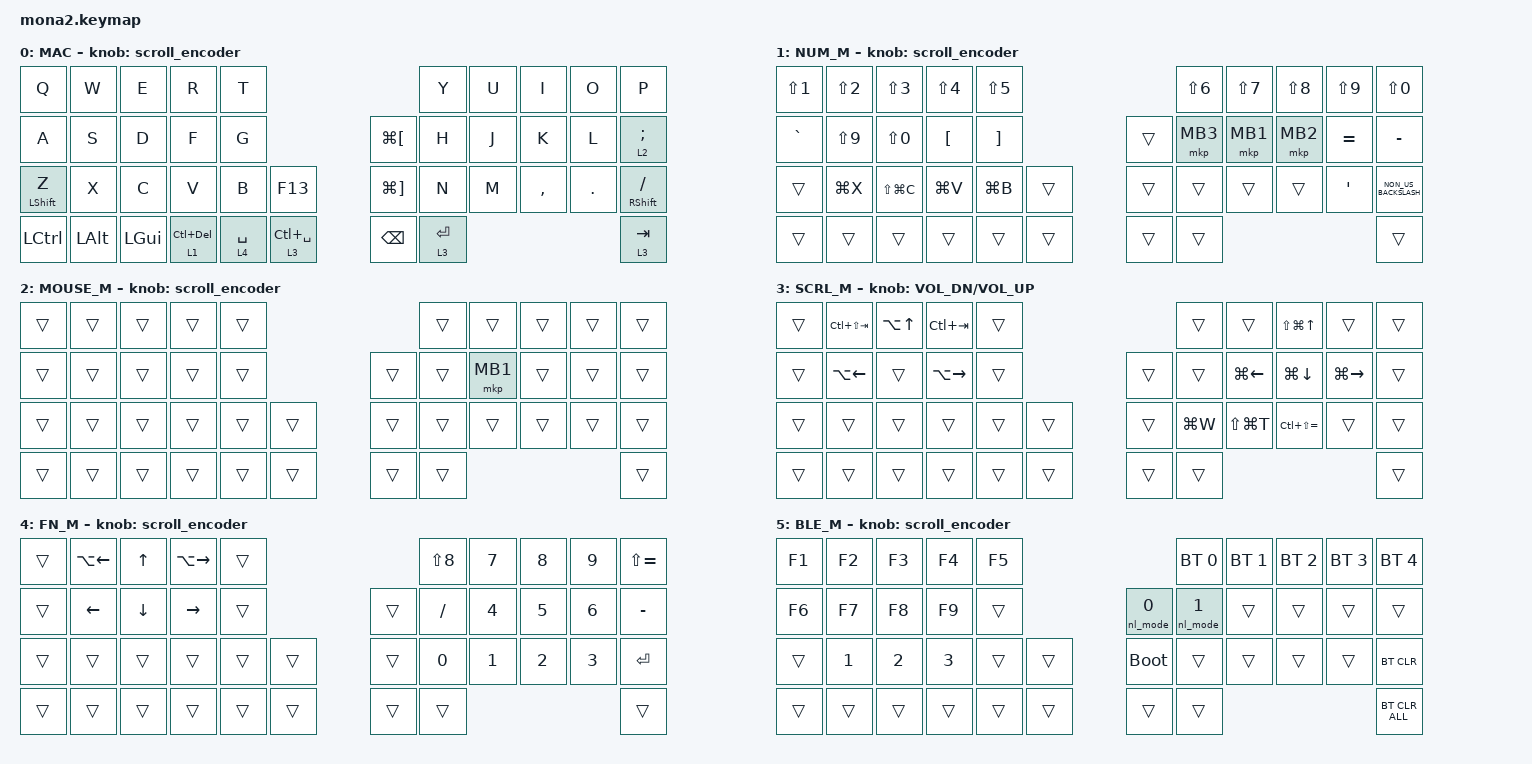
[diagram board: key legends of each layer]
#include <input/processors.dtsi>
#include <dt-bindings/zmk/input_transform.h>
#include <zephyr/dt-bindings/input/input-event-codes.h>
#include <behaviors.dtsi>
/* DYA Studio から作成したマクロを呼び出す `&rmacro <slot>` を定義する。
   slot は 0 〜 CONFIG_ZMK_RUNTIME_MACRO_COUNT-1 (現状 0〜7)。
   どのマクロがどのスロットに入っているかは DYA Studio のマクロ一覧で確認する。
   キーへの割り当ては DYA Studio のキーマップエディタからも行える。 */
#include <behaviors/runtime_macro.dtsi>
/* デフォルトレイヤー変更 behavior `&df`。
   DYA Studio の「OSごとのデフォルトレイヤー」から設定できるほか、
   キーマップエディタで `&df DF_SEL <layer>` / `&df DF_INC` を
   任意のキーに割り当てられる。 */
#include <behaviors/default_layer.dtsi>
#include <dt-bindings/zmk_behavior_default_layer/default_layer.h>
#include <dt-bindings/zmk/bt.h>
#include <dt-bindings/zmk/keys.h>
#include <dt-bindings/zmk/outputs.h>
#include <dt-bindings/zmk/pointing.h>
/* nemu-link: radio 切替 behavior `&nl_mode` (0=BLE, 1=独自2.4GHz, 2=toggle)。
   初期キーマップに割り当てがなくても include は必須 */
#include <behaviors/nemu_link.dtsi>

/* ZMK 側で 10 が定義済みなので警告回避のため一旦 undef */

#undef ZMK_POINTING_DEFAULT_SCRL_VAL

#define ZMK_POINTING_DEFAULT_SCRL_VAL 100


/ {
    behaviors {
        mg_set_0: behavior_mg_set_0 {
            compatible = "zmk,behavior-mg-set-fixed";
            #binding-cells = <0>;
            display-name = "Mouse Gesture Key 0";
        };

        mg_set_1: behavior_mg_set_1 {
            compatible = "zmk,behavior-mg-set-fixed";
            #binding-cells = <0>;
            display-name = "Mouse Gesture Key 1";
        };

        mg_set_2: behavior_mg_set_2 {
            compatible = "zmk,behavior-mg-set-fixed";
            #binding-cells = <0>;
            display-name = "Mouse Gesture Key 2";
        };
    };
};

&mt {
    flavor = "balanced";
    quick-tap-ms = <0>;
};

&lt {
    quick-tap-ms = <200>;
    flavor = "balanced";
};

&msc {
    delay-ms = <0>;
    time-to-max-speed-ms = <0>;
    acceleration-exponent = <0>;
};

/ {
    /* sekigon dynamic-combo slots。stock combo listener (keymap より先に
       実行される) 経由で評価されるため hold-tap 位置でも正しく発火する。
       設定 record は shared scope で ESB 経由 dongle と同期される。 */
    combo_slot0: combo_slot0 {
        compatible = "sekigon,dynamic-combo-slot";
        slot-index = <0>;
        target-role = "keyboard-right";
        default-key-positions = <38 39>;
        default-binding = <&lt 5 ESC>;
    };

    combo_slot1: combo_slot1 {
        compatible = "sekigon,dynamic-combo-slot";
        slot-index = <1>;
        target-role = "keyboard-right";
        default-key-positions = <11 12>;
        default-binding = <&kp TAB>;
    };

    combo_slot2: combo_slot2 {
        compatible = "sekigon,dynamic-combo-slot";
        slot-index = <2>;
        target-role = "keyboard-right";
        default-key-positions = <17 18>;
        default-binding = <&mkp MB3>;
    };

    combo_slot3: combo_slot3 {
        compatible = "sekigon,dynamic-combo-slot";
        slot-index = <3>;
        target-role = "keyboard-right";
        default-key-positions = <18 19>;
        default-binding = <&mkp MB2>;
    };

    combo_slot4: combo_slot4 {
        compatible = "sekigon,dynamic-combo-slot";
        slot-index = <4>;
        target-role = "keyboard-right";
        default-key-positions = <33 37>;
        default-binding = <&kp LC(SPACE)>;
    };

    /* 静的マクロ。キーマップ上で &BT0 / &screenshot などの名前で直接
       参照しているため、そのまま残している (DYA Studio 上では編集不可)。
       DYA Studio から編集したいマクロは Web UI で新規作成し、
       キーに `&rmacro <slot>` を割り当てて使う。 */
    macros {
        to_layer_0: to_layer_0 {
            compatible = "zmk,behavior-macro-one-param";
            #binding-cells = <1>;
            bindings = <&to 0 &macro_param_1to1 &kp MACRO_PLACEHOLDER>;
            label = "TO_LAYER_0";
        };

        BT0: BT0 {
            compatible = "zmk,behavior-macro";
            #binding-cells = <0>;
            bindings =
                <&tog_off 0 &tog_off 1>,
                <&macro_wait_time 200>,
                <&bt BT_SEL 0>,
                <&macro_wait_time 500>,
                <&tog_on 0>;

            label = "BT0";
        };

        BT1: BT1 {
            compatible = "zmk,behavior-macro";
            #binding-cells = <0>;
            bindings =
                <&tog_off 0 &tog_off 1>,
                <&macro_wait_time 200>,
                <&bt BT_SEL 1>,
                <&macro_wait_time 500>,
                <&tog_on 1>;

            label = "BT1";
        };

        screenshot: screenshot {
            compatible = "zmk,behavior-macro";
            #binding-cells = <0>;
            bindings =
                <&macro_press>,
                <&kp LEFT_GUI &kp RSHIFT>,
                <&macro_wait_time 20>,
                <&macro_tap>,
                <&kp S>,
                <&macro_release>,
                <&kp LEFT_GUI &kp RSHIFT>;

            label = "SCREENSHOT";
        };

        henkan: henkan {
            compatible = "zmk,behavior-macro";
            #binding-cells = <0>;
            bindings =
                <&macro_press>,
                <&kp LEFT_ALT>,
                <&macro_wait_time 20>,
                <&macro_tap>,
                <&kp GRAVE>,
                <&macro_release>,
                <&kp LEFT_ALT>;

            label = "HENKAN";
        };
    };

    behaviors {
        lt_to_layer_0: lt_to_layer_0 {
            compatible = "zmk,behavior-hold-tap";
            label = "LAYER_TAP_TO_0";
            bindings = <&mo>, <&to_layer_0>;

            #binding-cells = <2>;
            tapping-term-ms = <200>;
        };

        tp_repeat_mo1: tp_repeat_mo1 {
            compatible = "zmk,behavior-hold-tap";
            label = "TP_REPEAT_MO1";
            bindings = <&mo>, <&key_repeat>;

            #binding-cells = <2>;
            tapping-term-ms = <200>;
        };

        // エンコーダ用 runtime-configurable sensor rotate
        // デフォルトはスクロール (cw=SCRL_DOWN, ccw=SCRL_UP)
        // DYA Studio Web UI から レイヤーごとに cw/ccw の binding を
        // kp C_VOL_UP/DN や kp LEFT/RIGHT などへ動的変更可能

        /* sekigon dynamic-encoder adapter: dynamic_sensor_binding_lookup フックが
           Studio 保存済みレコードを解決する際に使用する (DT_INST(0) として必須)。 */
        runtime_encoder: runtime_encoder {
            compatible = "sekigon,dynamic-behavior-runtime-encoder";
            #binding-cells = <0>;
            #sensor-binding-cells = <0>;
        };

        /* 通常レイヤーの既定エンコーダ動作: 静的スクロール。
           dynamic-encoder で該当レイヤーに保存済みレコードがあればそちらが優先される。 */
        scroll_encoder: scroll_encoder {
            compatible = "zmk,behavior-sensor-rotate";
            #sensor-binding-cells = <0>;
            bindings = <&msc SCRL_UP>, <&msc SCRL_DOWN>;
            tap-ms = <20>;
        };

        tog_on: toggle_layer_on_only {
            compatible = "zmk,behavior-toggle-layer";
            #binding-cells = <1>;
            display-name = "Toggle Layer On";
            toggle-mode = "on";
        };

        tog_off: toggle_layer_off_only {
            compatible = "zmk,behavior-toggle-layer";
            #binding-cells = <1>;
            display-name = "Toggle Layer Off";
            toggle-mode = "off";
        };

        zfold: zfold {
            compatible = "zmk,behavior-hold-tap";
            label = "ZFOLD";
            bindings = <&kp>, <&kp>;

            #binding-cells = <2>;
            tapping-term-ms = <300>;
            flavor = "hold-preferred";
            quick-tap-ms = <150>;
            hold-while-undecided;
        };

        zfoldZ: zfoldZ {
            compatible = "zmk,behavior-tap-dance";
            label = "ZFOLDZ";
            #binding-cells = <0>;
            bindings = <&zfold LEFT_SHIFT Z>, <&kp LS(Z)>;
        };
    };

    keymap {
        compatible = "zmk,keymap";

        layer_00_mac_layer {
            display-name = "MAC";
            bindings = <
                &kp Q    &kp W    &kp E    &kp R    &kp T    &kp Y    &kp U    &kp I    &kp O    &kp P
                &kp A    &kp S    &kp D    &kp F    &kp G    &kp LG(LEFT_BRACKET)    &kp H    &kp J    &kp K    &kp L    &lt 2 SEMICOLON
                &mt LEFT_SHIFT Z    &kp X    &kp C    &kp V    &kp B    &kp F13    &kp LG(RIGHT_BRACKET)    &kp N    &kp M    &kp COMMA    &kp PERIOD    &mt RIGHT_SHIFT SLASH
                &kp LEFT_CONTROL    &kp LEFT_ALT    &kp LEFT_GUI    &lt 1 LC(DELETE)    &lt 4 SPACE    &lt 3 LC(SPACE)    &kp BACKSPACE    &lt 3 RETURN    &lt 3 TAB
            >;
            sensor-bindings = <&scroll_encoder>; /* JSON: sensorIndex 0 */
        };

        layer_01_num_m_layer {
            display-name = "NUM_M";
            bindings = <
                &kp LS(N1)    &kp LS(N2)    &kp LS(N3)    &kp LS(N4)    &kp LS(N5)    &kp LS(N6)    &kp LS(N7)    &kp LS(N8)    &kp LS(N9)    &kp LS(N0)
                &kp GRAVE    &kp LS(N9)    &kp LS(N0)    &kp LEFT_BRACKET    &kp RIGHT_BRACKET    &trans    &mkp MB3    &mkp MB1    &mkp MB2    &kp EQUAL    &kp MINUS
                &trans    &kp LG(X)    &kp LS(LG(C))    &kp LG(V)    &kp LG(B)    &trans    &trans    &trans    &trans    &trans    &kp SQT    &kp NON_US_BACKSLASH
                &trans    &trans    &trans    &trans    &trans    &trans    &trans    &trans    &trans
            >;
            sensor-bindings = <&scroll_encoder>; /* JSON: sensorIndex 0 */
        };

        layer_02_mouse_m_layer {
            display-name = "MOUSE_M";
            bindings = <
                &trans    &trans    &trans    &trans    &trans    &trans    &trans    &trans    &trans    &trans
                &trans    &trans    &trans    &trans    &trans    &trans    &trans    &mkp MB1    &trans    &trans    &trans
                &trans    &trans    &trans    &trans    &trans    &trans    &trans    &trans    &trans    &trans    &trans    &trans
                &trans    &trans    &trans    &trans    &trans    &trans    &trans    &trans    &trans
            >;
            sensor-bindings = <&scroll_encoder>; /* JSON: sensorIndex 0 */
        };

        layer_03_scrl_m_layer {
            display-name = "SCRL_M";
            bindings = <
                &trans    &kp LC(LS(TAB))    &kp LA(UP)    &kp LC(TAB)    &trans    &trans    &trans    &kp LS(LG(UP))    &trans    &trans
                &trans    &kp LA(LEFT)    &trans    &kp LA(RIGHT)    &trans    &trans    &trans    &kp LG(LEFT)    &kp LG(DOWN)    &kp LG(RIGHT)    &trans
                &trans    &trans    &trans    &trans    &trans    &trans    &trans    &kp LG(W)    &kp LS(LG(T))    &kp LC(LS(EQUAL))    &trans    &trans
                &trans    &trans    &trans    &trans    &trans    &trans    &trans    &trans    &trans
            >;
            /* SCRL_M は音量固定 (CW=Vol-, CCW=Vol+)。
               dynamic-encoder レコードが有効化されると静的バインドより
               優先されるため、その場合は Studio 側の割当が使われる。 */
            sensor-bindings = <&inc_dec_kp C_VOL_DN C_VOL_UP>; /* JSON: sensorIndex 0 */
        };

        layer_04_fn_m_layer {
            display-name = "FN_M";
            bindings = <
                &trans    &kp LA(LEFT)    &kp UP    &kp LA(RIGHT)    &trans    &kp LS(N8)    &kp N7    &kp N8    &kp N9    &kp LS(EQUAL)
                &trans    &kp LEFT    &kp DOWN    &kp RIGHT    &trans    &trans    &kp SLASH    &kp N4    &kp N5    &kp N6    &kp MINUS
                &trans    &trans    &trans    &trans    &trans    &trans    &trans    &kp N0    &kp N1    &kp N2    &kp N3    &kp RETURN
                &trans    &trans    &trans    &trans    &trans    &trans    &trans    &trans    &trans
            >;
            sensor-bindings = <&scroll_encoder>; /* JSON: sensorIndex 0 */
        };

        layer_05_ble_m_layer {
            display-name = "BLE_M";
            bindings = <
                &kp F1    &kp F2    &kp F3    &kp F4    &kp F5    &bt BT_SEL 0    &bt BT_SEL 1    &bt BT_SEL 2    &bt BT_SEL 3    &bt BT_SEL 4
                &kp F6    &kp F7    &kp F8    &kp F9    &trans    &nl_mode 0    &nl_mode 1    &trans    &trans    &trans    &trans
                &trans    &kp N1    &kp N2    &kp N3    &trans    &trans    &bootloader    &trans    &trans    &trans    &trans    &bt BT_CLR
                &trans    &trans    &trans    &trans    &trans    &trans    &trans    &trans    &bt BT_CLR_ALL
            >;
            sensor-bindings = <&scroll_encoder>; /* JSON: sensorIndex 0 */
        };







    };
};
